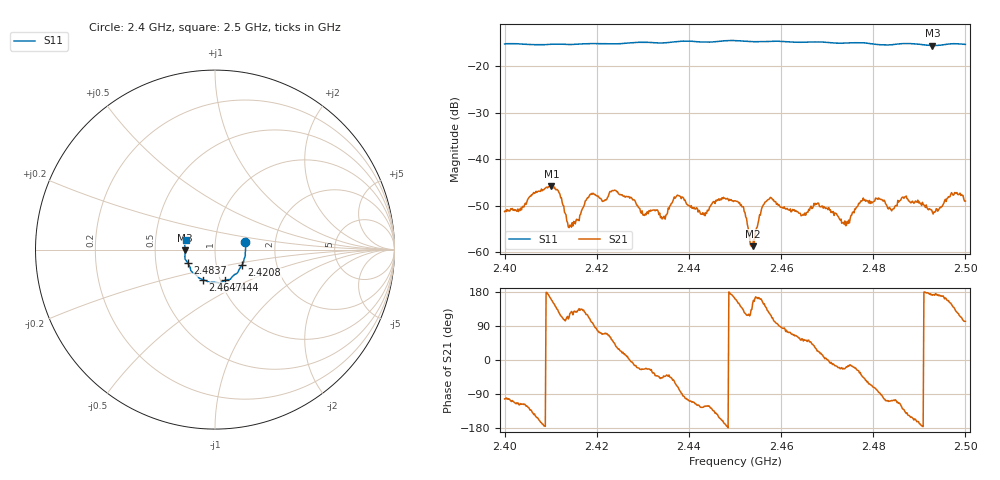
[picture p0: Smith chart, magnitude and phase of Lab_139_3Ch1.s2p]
# Hz S RI R 50
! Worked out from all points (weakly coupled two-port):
!   601 points, 2.4 GHz to 2.5 GHz, reference 50 ohm
!   highest |S21| = -45.83 dB at 2.4102 GHz (marker M1); lowest = -58.7 dB at 2.4538 GHz (marker M2)
!   lowest |S11| = -15.6 dB at 2.4928 GHz (marker M3), VSWR 1.40, Z = 35.8 - j0.352 ohm
!   |S11| at or under -10 dB: start of sweep to end of sweep
!   S12 and S22 are empty: the file has one direction only
!   S11 on the Smith chart (normalised r, x): 2.4 GHz: 1.40, +0.12; 2.4208 GHz: 1.33, -0.24; 2.444 GHz: 1.06, -0.37; 2.4647 GHz: 0.83, -0.29; 2.4837 GHz: 0.73, -0.11; 2.5 GHz: 0.72, +0.08
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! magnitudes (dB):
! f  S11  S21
! 2.4 GHz  -15.2  -51.3
! 2.4102 GHz  -15.3  -45.8
! 2.414 GHz  -15.4  -54.7
! 2.4167 GHz  -15.2  -51.2
! 2.4208 GHz  -15.2  -48.4
! 2.424 GHz  -15.2  -46.7
! 2.4333 GHz  -15.0  -51.3
! 2.4377 GHz  -14.7  -47.8
! 2.444 GHz  -14.9  -51.0
! 2.45 GHz  -14.5  -48.9
! 2.4518 GHz  -14.6  -50.3
! 2.4538 GHz  -14.8  -58.7
! 2.4573 GHz  -14.7  -48.7
! 2.4647 GHz  -14.9  -52.0
! 2.4667 GHz  -14.8  -50.6
! 2.4737 GHz  -15.1  -54.0
! 2.4777 GHz  -15.0  -48.9
! 2.4833 GHz  -15.5  -50.7
! 2.4837 GHz  -15.4  -50.6
! 2.4867 GHz  -15.2  -48.4
! 2.4928 GHz  -15.6  -51.4
! 2.5 GHz  -15.3  -49.0
